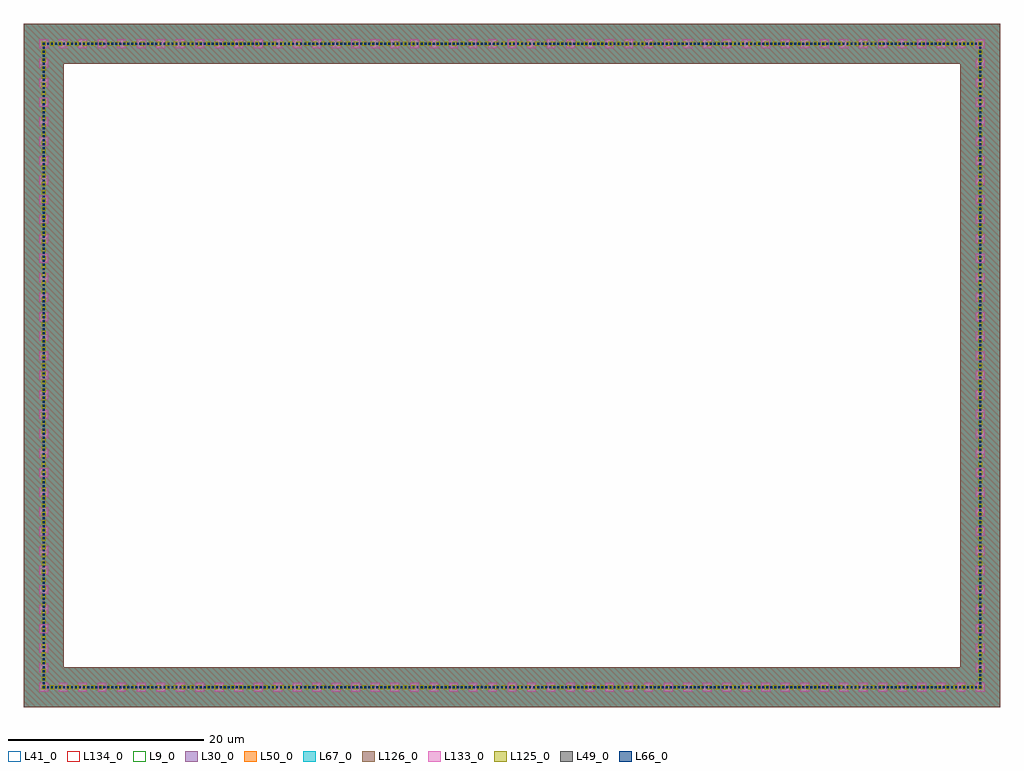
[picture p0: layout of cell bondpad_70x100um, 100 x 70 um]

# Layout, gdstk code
import gdstk
lib = gdstk.Library(unit=1e-6, precision=5e-09)
def R(c, l, rs):  # rectangles x0, y0, x1, y1
    for r in rs: c.add(gdstk.rectangle(r[:2], r[2:], *l))
def A(c, l, x, y, w, h, nx, ny, dx, dy):  # array of equal rectangles
    R(c, l, [(x+i*dx, y+j*dy, x+i*dx+w, y+j*dy+h) for i in range(nx) for j in range(ny)])
def P(c, l, *ps):  # polygons
    for p in ps: c.add(gdstk.Polygon(p, *l))
L9_0 = (9, 0)
L30_0 = (30, 0)
L41_0 = (41, 0)
L49_0 = (49, 0)
L50_0 = (50, 0)
L66_0 = (66, 0)
L67_0 = (67, 0)
L125_0 = (125, 0)
L126_0 = (126, 0)
L133_0 = (133, 0)
L134_0 = (134, 0)

bondpad_70x100um = lib.new_cell('bondpad_70x100um')
R(bondpad_70x100um, L9_0, [(-183.855,-25.315,-88.055,40.485)])
P(bondpad_70x100um, L30_0, [(-185.955,-27.415),(-185.955,42.585),(-181.885,38.515),(-181.885,-23.345),(-90.025,-23.345),(-90.025,38.515),(-181.885,38.515),(-185.955,42.585),(-85.955,42.585),(-85.955,-27.415)])
R(bondpad_70x100um, L41_0, [(-185.955,-27.415,-85.955,42.585)])
A(bondpad_70x100um, L49_0, -183.595, -25.475, 0.19, 0.19, 4, 2, 0.41, 65.93)
A(bondpad_70x100um, L49_0, -181.95, -25.475, 0.19, 0.19, 3, 2, 0.41, 65.93)
A(bondpad_70x100um, L49_0, -180.715, -25.475, 0.19, 0.19, 3, 2, 0.41, 65.93)
A(bondpad_70x100um, L49_0, -179.48, -25.475, 0.19, 0.19, 3, 2, 0.41, 65.93)
A(bondpad_70x100um, L49_0, -178.245, -25.475, 0.19, 0.19, 3, 2, 0.41, 65.93)
A(bondpad_70x100um, L49_0, -177.01, -25.475, 0.19, 0.19, 3, 2, 0.41, 65.93)
A(bondpad_70x100um, L49_0, -175.775, -25.475, 0.19, 0.19, 3, 2, 0.41, 65.93)
A(bondpad_70x100um, L49_0, -174.54, -25.475, 0.19, 0.19, 3, 2, 0.41, 65.93)
A(bondpad_70x100um, L49_0, -173.305, -25.475, 0.19, 0.19, 3, 2, 0.41, 65.93)
A(bondpad_70x100um, L49_0, -172.07, -25.475, 0.19, 0.19, 3, 2, 0.41, 65.93)
A(bondpad_70x100um, L49_0, -170.835, -25.475, 0.19, 0.19, 3, 2, 0.41, 65.93)
A(bondpad_70x100um, L49_0, -169.6, -25.475, 0.19, 0.19, 3, 2, 0.41, 65.93)
A(bondpad_70x100um, L49_0, -168.365, -25.475, 0.19, 0.19, 3, 2, 0.41, 65.93)
A(bondpad_70x100um, L49_0, -167.13, -25.475, 0.19, 0.19, 3, 2, 0.41, 65.93)
A(bondpad_70x100um, L49_0, -165.895, -25.475, 0.19, 0.19, 3, 2, 0.41, 65.93)
A(bondpad_70x100um, L49_0, -164.66, -25.475, 0.19, 0.19, 3, 2, 0.41, 65.93)
A(bondpad_70x100um, L49_0, -163.425, -25.475, 0.19, 0.19, 3, 2, 0.41, 65.93)
A(bondpad_70x100um, L49_0, -162.19, -25.475, 0.19, 0.19, 3, 2, 0.41, 65.93)
A(bondpad_70x100um, L49_0, -160.955, -25.475, 0.19, 0.19, 3, 2, 0.41, 65.93)
A(bondpad_70x100um, L49_0, -159.72, -25.475, 0.19, 0.19, 3, 2, 0.41, 65.93)
A(bondpad_70x100um, L49_0, -158.485, -25.475, 0.19, 0.19, 3, 2, 0.41, 65.93)
A(bondpad_70x100um, L49_0, -157.25, -25.475, 0.19, 0.19, 3, 2, 0.41, 65.93)
A(bondpad_70x100um, L49_0, -156.015, -25.475, 0.19, 0.19, 3, 2, 0.41, 65.93)
A(bondpad_70x100um, L49_0, -154.78, -25.475, 0.19, 0.19, 3, 2, 0.41, 65.93)
A(bondpad_70x100um, L49_0, -153.545, -25.475, 0.19, 0.19, 3, 2, 0.41, 65.93)
A(bondpad_70x100um, L49_0, -152.31, -25.475, 0.19, 0.19, 4, 2, 0.41, 65.93)
A(bondpad_70x100um, L49_0, -150.665, -25.475, 0.19, 0.19, 3, 2, 0.41, 65.93)
A(bondpad_70x100um, L49_0, -149.43, -25.475, 0.19, 0.19, 3, 2, 0.41, 65.93)
A(bondpad_70x100um, L49_0, -148.195, -25.475, 0.19, 0.19, 3, 2, 0.41, 65.93)
A(bondpad_70x100um, L49_0, -146.96, -25.475, 0.19, 0.19, 3, 2, 0.41, 65.93)
A(bondpad_70x100um, L49_0, -145.725, -25.475, 0.19, 0.19, 3, 2, 0.41, 65.93)
A(bondpad_70x100um, L49_0, -144.49, -25.475, 0.19, 0.19, 3, 2, 0.41, 65.93)
A(bondpad_70x100um, L49_0, -143.255, -25.475, 0.19, 0.19, 3, 2, 0.41, 65.93)
A(bondpad_70x100um, L49_0, -142.02, -25.475, 0.19, 0.19, 3, 2, 0.41, 65.93)
A(bondpad_70x100um, L49_0, -140.785, -25.475, 0.19, 0.19, 3, 2, 0.41, 65.93)
A(bondpad_70x100um, L49_0, -139.55, -25.475, 0.19, 0.19, 3, 2, 0.41, 65.93)
A(bondpad_70x100um, L49_0, -138.315, -25.475, 0.19, 0.19, 3, 2, 0.41, 65.93)
A(bondpad_70x100um, L49_0, -137.08, -25.475, 0.19, 0.19, 3, 2, 0.41, 65.93)
A(bondpad_70x100um, L49_0, -135.845, -25.475, 0.19, 0.19, 3, 2, 0.41, 65.93)
A(bondpad_70x100um, L49_0, -134.61, -25.475, 0.19, 0.19, 3, 2, 0.41, 65.93)
A(bondpad_70x100um, L49_0, -133.375, -25.475, 0.19, 0.19, 3, 2, 0.41, 65.93)
A(bondpad_70x100um, L49_0, -132.14, -25.475, 0.19, 0.19, 3, 2, 0.41, 65.93)
A(bondpad_70x100um, L49_0, -130.905, -25.475, 0.19, 0.19, 3, 2, 0.41, 65.93)
A(bondpad_70x100um, L49_0, -129.67, -25.475, 0.19, 0.19, 3, 2, 0.41, 65.93)
A(bondpad_70x100um, L49_0, -128.435, -25.475, 0.19, 0.19, 3, 2, 0.41, 65.93)
A(bondpad_70x100um, L49_0, -127.2, -25.475, 0.19, 0.19, 3, 2, 0.41, 65.93)
A(bondpad_70x100um, L49_0, -125.965, -25.475, 0.19, 0.19, 3, 2, 0.41, 65.93)
A(bondpad_70x100um, L49_0, -124.73, -25.475, 0.19, 0.19, 3, 2, 0.41, 65.93)
A(bondpad_70x100um, L49_0, -123.495, -25.475, 0.19, 0.19, 3, 2, 0.41, 65.93)
A(bondpad_70x100um, L49_0, -122.26, -25.475, 0.19, 0.19, 3, 2, 0.41, 65.93)
A(bondpad_70x100um, L49_0, -121.025, -25.475, 0.19, 0.19, 4, 2, 0.41, 65.93)
A(bondpad_70x100um, L49_0, -119.38, -25.475, 0.19, 0.19, 3, 2, 0.41, 65.93)
A(bondpad_70x100um, L49_0, -118.145, -25.475, 0.19, 0.19, 3, 2, 0.41, 65.93)
A(bondpad_70x100um, L49_0, -116.91, -25.475, 0.19, 0.19, 3, 2, 0.41, 65.93)
A(bondpad_70x100um, L49_0, -115.675, -25.475, 0.19, 0.19, 3, 2, 0.41, 65.93)
A(bondpad_70x100um, L49_0, -114.44, -25.475, 0.19, 0.19, 3, 2, 0.41, 65.93)
A(bondpad_70x100um, L49_0, -113.205, -25.475, 0.19, 0.19, 3, 2, 0.41, 65.93)
A(bondpad_70x100um, L49_0, -111.97, -25.475, 0.19, 0.19, 3, 2, 0.41, 65.93)
A(bondpad_70x100um, L49_0, -110.735, -25.475, 0.19, 0.19, 3, 2, 0.41, 65.93)
A(bondpad_70x100um, L49_0, -109.5, -25.475, 0.19, 0.19, 3, 2, 0.41, 65.93)
A(bondpad_70x100um, L49_0, -108.265, -25.475, 0.19, 0.19, 3, 2, 0.41, 65.93)
A(bondpad_70x100um, L49_0, -107.03, -25.475, 0.19, 0.19, 3, 2, 0.41, 65.93)
A(bondpad_70x100um, L49_0, -105.795, -25.475, 0.19, 0.19, 3, 2, 0.41, 65.93)
A(bondpad_70x100um, L49_0, -104.56, -25.475, 0.19, 0.19, 3, 2, 0.41, 65.93)
A(bondpad_70x100um, L49_0, -103.325, -25.475, 0.19, 0.19, 3, 2, 0.41, 65.93)
A(bondpad_70x100um, L49_0, -102.09, -25.475, 0.19, 0.19, 3, 2, 0.41, 65.93)
A(bondpad_70x100um, L49_0, -100.855, -25.475, 0.19, 0.19, 3, 2, 0.41, 65.93)
A(bondpad_70x100um, L49_0, -99.62, -25.475, 0.19, 0.19, 3, 2, 0.41, 65.93)
A(bondpad_70x100um, L49_0, -98.385, -25.475, 0.19, 0.19, 3, 2, 0.41, 65.93)
A(bondpad_70x100um, L49_0, -97.15, -25.475, 0.19, 0.19, 3, 2, 0.41, 65.93)
A(bondpad_70x100um, L49_0, -95.915, -25.475, 0.19, 0.19, 3, 2, 0.41, 65.93)
A(bondpad_70x100um, L49_0, -94.68, -25.475, 0.19, 0.19, 3, 2, 0.41, 65.93)
A(bondpad_70x100um, L49_0, -93.445, -25.475, 0.19, 0.19, 3, 2, 0.41, 65.93)
A(bondpad_70x100um, L49_0, -92.21, -25.475, 0.19, 0.19, 3, 2, 0.41, 65.93)
A(bondpad_70x100um, L49_0, -90.975, -25.475, 0.19, 0.19, 3, 2, 0.41, 65.93)
A(bondpad_70x100um, L49_0, -89.74, -25.475, 0.19, 0.19, 3, 2, 0.41, 65.93)
A(bondpad_70x100um, L49_0, -184.015, -23.41, 0.19, 0.19, 1, 3, 0, 0.41)
A(bondpad_70x100um, L49_0, -88.085, -23.41, 0.19, 0.19, 1, 3, 0, 0.41)
A(bondpad_70x100um, L49_0, -184.015, -21.35, 0.19, 0.19, 1, 3, 0, 0.41)
A(bondpad_70x100um, L49_0, -88.085, -21.35, 0.19, 0.19, 1, 3, 0, 0.41)
A(bondpad_70x100um, L49_0, -184.015, -18.465, 0.19, 0.19, 1, 3, 0, 0.41)
A(bondpad_70x100um, L49_0, -88.085, -18.465, 0.19, 0.19, 1, 3, 0, 0.41)
A(bondpad_70x100um, L49_0, -184.015, -16.405, 0.19, 0.19, 1, 3, 0, 0.41)
A(bondpad_70x100um, L49_0, -88.085, -16.405, 0.19, 0.19, 1, 3, 0, 0.41)
A(bondpad_70x100um, L49_0, -184.015, -14.345, 0.19, 0.19, 1, 3, 0, 0.41)
A(bondpad_70x100um, L49_0, -88.085, -14.345, 0.19, 0.19, 1, 3, 0, 0.41)
A(bondpad_70x100um, L49_0, -184.015, -11.46, 0.19, 0.19, 1, 3, 0, 0.41)
A(bondpad_70x100um, L49_0, -88.085, -11.46, 0.19, 0.19, 1, 3, 0, 0.41)
A(bondpad_70x100um, L49_0, -184.015, -9.4, 0.19, 0.19, 1, 3, 0, 0.41)
A(bondpad_70x100um, L49_0, -88.085, -9.4, 0.19, 0.19, 1, 3, 0, 0.41)
A(bondpad_70x100um, L49_0, -184.015, -7.34, 0.19, 0.19, 1, 3, 0, 0.41)
A(bondpad_70x100um, L49_0, -88.085, -7.34, 0.19, 0.19, 1, 3, 0, 0.41)
A(bondpad_70x100um, L49_0, -184.015, -4.455, 0.19, 0.19, 1, 3, 0, 0.41)
A(bondpad_70x100um, L49_0, -88.085, -4.455, 0.19, 0.19, 1, 3, 0, 0.41)
A(bondpad_70x100um, L49_0, -184.015, -2.395, 0.19, 0.19, 1, 3, 0, 0.41)
A(bondpad_70x100um, L49_0, -88.085, -2.395, 0.19, 0.19, 1, 3, 0, 0.41)
A(bondpad_70x100um, L49_0, -184.015, -0.335, 0.19, 0.19, 1, 3, 0, 0.41)
A(bondpad_70x100um, L49_0, -88.085, -0.335, 0.19, 0.19, 1, 3, 0, 0.41)
A(bondpad_70x100um, L49_0, -184.015, 2.55, 0.19, 0.19, 1, 3, 0, 0.41)
A(bondpad_70x100um, L49_0, -88.085, 2.55, 0.19, 0.19, 1, 3, 0, 0.41)
A(bondpad_70x100um, L49_0, -184.015, 4.61, 0.19, 0.19, 1, 3, 0, 0.41)
A(bondpad_70x100um, L49_0, -88.085, 4.61, 0.19, 0.19, 1, 3, 0, 0.41)
A(bondpad_70x100um, L49_0, -184.015, 6.67, 0.19, 0.19, 1, 3, 0, 0.41)
A(bondpad_70x100um, L49_0, -88.085, 6.67, 0.19, 0.19, 1, 3, 0, 0.41)
A(bondpad_70x100um, L49_0, -184.015, 9.555, 0.19, 0.19, 1, 3, 0, 0.41)
A(bondpad_70x100um, L49_0, -88.085, 9.555, 0.19, 0.19, 1, 3, 0, 0.41)
A(bondpad_70x100um, L49_0, -184.015, 11.615, 0.19, 0.19, 1, 3, 0, 0.41)
A(bondpad_70x100um, L49_0, -88.085, 11.615, 0.19, 0.19, 1, 3, 0, 0.41)
A(bondpad_70x100um, L49_0, -184.015, 14.5, 0.19, 0.19, 1, 3, 0, 0.41)
A(bondpad_70x100um, L49_0, -88.085, 14.5, 0.19, 0.19, 1, 3, 0, 0.41)
A(bondpad_70x100um, L49_0, -184.015, 16.56, 0.19, 0.19, 1, 3, 0, 0.41)
A(bondpad_70x100um, L49_0, -88.085, 16.56, 0.19, 0.19, 1, 3, 0, 0.41)
A(bondpad_70x100um, L49_0, -184.015, 18.62, 0.19, 0.19, 1, 3, 0, 0.41)
A(bondpad_70x100um, L49_0, -88.085, 18.62, 0.19, 0.19, 1, 3, 0, 0.41)
A(bondpad_70x100um, L49_0, -184.015, 21.505, 0.19, 0.19, 1, 3, 0, 0.41)
A(bondpad_70x100um, L49_0, -88.085, 21.505, 0.19, 0.19, 1, 3, 0, 0.41)
A(bondpad_70x100um, L49_0, -184.015, 23.565, 0.19, 0.19, 1, 3, 0, 0.41)
A(bondpad_70x100um, L49_0, -88.085, 23.565, 0.19, 0.19, 1, 3, 0, 0.41)
A(bondpad_70x100um, L49_0, -184.015, 25.625, 0.19, 0.19, 1, 3, 0, 0.41)
A(bondpad_70x100um, L49_0, -88.085, 25.625, 0.19, 0.19, 1, 3, 0, 0.41)
A(bondpad_70x100um, L49_0, -184.015, 28.51, 0.19, 0.19, 1, 3, 0, 0.41)
A(bondpad_70x100um, L49_0, -88.085, 28.51, 0.19, 0.19, 1, 3, 0, 0.41)
A(bondpad_70x100um, L49_0, -184.015, 30.57, 0.19, 0.19, 1, 3, 0, 0.41)
A(bondpad_70x100um, L49_0, -88.085, 30.57, 0.19, 0.19, 1, 3, 0, 0.41)
A(bondpad_70x100um, L49_0, -184.015, 32.63, 0.19, 0.19, 1, 3, 0, 0.41)
A(bondpad_70x100um, L49_0, -88.085, 32.63, 0.19, 0.19, 1, 3, 0, 0.41)
A(bondpad_70x100um, L49_0, -184.015, 35.515, 0.19, 0.19, 1, 3, 0, 0.41)
A(bondpad_70x100um, L49_0, -88.085, 35.515, 0.19, 0.19, 1, 3, 0, 0.41)
A(bondpad_70x100um, L49_0, -184.015, 37.575, 0.19, 0.19, 1, 3, 0, 0.41)
A(bondpad_70x100um, L49_0, -88.085, 37.575, 0.19, 0.19, 1, 3, 0, 0.41)
A(bondpad_70x100um, L49_0, -184.015, 39.635, 0.19, 0.19, 1, 3, 0, 0.41)
A(bondpad_70x100um, L49_0, -88.085, 39.635, 0.19, 0.19, 1, 3, 0, 0.41)
R(bondpad_70x100um, L49_0, [(-184.015,-25.475,-183.825,-25.285), (-184.015,-25.475,-183.825,-25.285), (-88.505,-25.475,-88.315,-25.285), (-88.085,-25.475,-87.895,-25.285), (-88.085,-25.475,-87.895,-25.285), (-184.015,-25.06,-183.825,-24.87), (-88.085,-25.06,-87.895,-24.87), (-184.015,-24.65,-183.825,-24.46), (-88.085,-24.65,-87.895,-24.46), (-184.015,-24.235,-183.825,-24.045), (-88.085,-24.235,-87.895,-24.045), (-184.015,-23.825,-183.825,-23.635), (-88.085,-23.825,-87.895,-23.635), (-184.015,-22.175,-183.825,-21.985), (-88.085,-22.175,-87.895,-21.985), (-184.015,-21.765,-183.825,-21.575), (-88.085,-21.765,-87.895,-21.575), (-184.015,-20.115,-183.825,-19.925), (-88.085,-20.115,-87.895,-19.925), (-184.015,-19.705,-183.825,-19.515), (-88.085,-19.705,-87.895,-19.515), (-184.015,-19.29,-183.825,-19.1), (-88.085,-19.29,-87.895,-19.1), (-184.015,-18.88,-183.825,-18.69), (-88.085,-18.88,-87.895,-18.69), (-184.015,-17.23,-183.825,-17.04), (-88.085,-17.23,-87.895,-17.04), (-184.015,-16.82,-183.825,-16.63), (-88.085,-16.82,-87.895,-16.63), (-184.015,-15.17,-183.825,-14.98), (-88.085,-15.17,-87.895,-14.98), (-184.015,-14.76,-183.825,-14.57), (-88.085,-14.76,-87.895,-14.57), (-184.015,-13.11,-183.825,-12.92), (-88.085,-13.11,-87.895,-12.92), (-184.015,-12.7,-183.825,-12.51), (-88.085,-12.7,-87.895,-12.51), (-184.015,-12.285,-183.825,-12.095), (-88.085,-12.285,-87.895,-12.095), (-184.015,-11.875,-183.825,-11.685), (-88.085,-11.875,-87.895,-11.685), (-184.015,-10.225,-183.825,-10.035), (-88.085,-10.225,-87.895,-10.035), (-184.015,-9.815,-183.825,-9.625), (-88.085,-9.815,-87.895,-9.625), (-184.015,-8.165,-183.825,-7.975), (-88.085,-8.165,-87.895,-7.975), (-184.015,-7.755,-183.825,-7.565), (-88.085,-7.755,-87.895,-7.565), (-184.015,-6.105,-183.825,-5.915), (-88.085,-6.105,-87.895,-5.915), (-184.015,-5.695,-183.825,-5.505), (-88.085,-5.695,-87.895,-5.505), (-184.015,-5.28,-183.825,-5.09), (-88.085,-5.28,-87.895,-5.09), (-184.015,-4.87,-183.825,-4.68), (-88.085,-4.87,-87.895,-4.68), (-184.015,-3.22,-183.825,-3.03), (-88.085,-3.22,-87.895,-3.03), (-184.015,-2.81,-183.825,-2.62), (-88.085,-2.81,-87.895,-2.62), (-184.015,-1.16,-183.825,-0.97), (-88.085,-1.16,-87.895,-0.97), (-184.015,-0.75,-183.825,-0.56), (-88.085,-0.75,-87.895,-0.56), (-184.015,0.9,-183.825,1.09), (-88.085,0.9,-87.895,1.09), (-184.015,1.31,-183.825,1.5), (-88.085,1.31,-87.895,1.5), (-184.015,1.725,-183.825,1.915), (-88.085,1.725,-87.895,1.915), (-184.015,2.135,-183.825,2.325), (-88.085,2.135,-87.895,2.325), (-184.015,3.785,-183.825,3.975), (-88.085,3.785,-87.895,3.975), (-184.015,4.195,-183.825,4.385), (-88.085,4.195,-87.895,4.385), (-184.015,5.845,-183.825,6.035), (-88.085,5.845,-87.895,6.035), (-184.015,6.255,-183.825,6.445), (-88.085,6.255,-87.895,6.445), (-184.015,7.905,-183.825,8.095), (-88.085,7.905,-87.895,8.095), (-184.015,8.315,-183.825,8.505), (-88.085,8.315,-87.895,8.505), (-184.015,8.73,-183.825,8.92), (-88.085,8.73,-87.895,8.92), (-184.015,9.14,-183.825,9.33), (-88.085,9.14,-87.895,9.33), (-184.015,10.79,-183.825,10.98), (-88.085,10.79,-87.895,10.98), (-184.015,11.2,-183.825,11.39), (-88.085,11.2,-87.895,11.39), (-184.015,12.85,-183.825,13.04), (-88.085,12.85,-87.895,13.04), (-184.015,13.26,-183.825,13.45), (-88.085,13.26,-87.895,13.45), (-184.015,13.675,-183.825,13.865), (-88.085,13.675,-87.895,13.865), (-184.015,14.085,-183.825,14.275), (-88.085,14.085,-87.895,14.275), (-184.015,15.735,-183.825,15.925), (-88.085,15.735,-87.895,15.925), (-184.015,16.145,-183.825,16.335), (-88.085,16.145,-87.895,16.335), (-184.015,17.795,-183.825,17.985), (-88.085,17.795,-87.895,17.985), (-184.015,18.205,-183.825,18.395), (-88.085,18.205,-87.895,18.395), (-184.015,19.855,-183.825,20.045), (-88.085,19.855,-87.895,20.045), (-184.015,20.265,-183.825,20.455), (-88.085,20.265,-87.895,20.455), (-184.015,20.68,-183.825,20.87), (-88.085,20.68,-87.895,20.87), (-184.015,21.09,-183.825,21.28), (-88.085,21.09,-87.895,21.28), (-184.015,22.74,-183.825,22.93), (-88.085,22.74,-87.895,22.93), (-184.015,23.15,-183.825,23.34), (-88.085,23.15,-87.895,23.34), (-184.015,24.8,-183.825,24.99), (-88.085,24.8,-87.895,24.99), (-184.015,25.21,-183.825,25.4), (-88.085,25.21,-87.895,25.4), (-184.015,26.86,-183.825,27.05), (-88.085,26.86,-87.895,27.05), (-184.015,27.27,-183.825,27.46), (-88.085,27.27,-87.895,27.46), (-184.015,27.685,-183.825,27.875), (-88.085,27.685,-87.895,27.875), (-184.015,28.095,-183.825,28.285), (-88.085,28.095,-87.895,28.285), (-184.015,29.745,-183.825,29.935), (-88.085,29.745,-87.895,29.935), (-184.015,30.155,-183.825,30.345), (-88.085,30.155,-87.895,30.345), (-184.015,31.805,-183.825,31.995), (-88.085,31.805,-87.895,31.995), (-184.015,32.215,-183.825,32.405), (-88.085,32.215,-87.895,32.405), (-184.015,33.865,-183.825,34.055), (-88.085,33.865,-87.895,34.055), (-184.015,34.275,-183.825,34.465), (-88.085,34.275,-87.895,34.465), (-184.015,34.69,-183.825,34.88), (-88.085,34.69,-87.895,34.88), (-184.015,35.1,-183.825,35.29), (-88.085,35.1,-87.895,35.29), (-184.015,36.75,-183.825,36.94), (-88.085,36.75,-87.895,36.94), (-184.015,37.16,-183.825,37.35), (-88.085,37.16,-87.895,37.35), (-184.015,38.81,-183.825,39), (-88.085,38.81,-87.895,39), (-184.015,39.22,-183.825,39.41), (-88.085,39.22,-87.895,39.41), (-184.015,40.455,-183.825,40.645), (-88.505,40.455,-88.315,40.645), (-88.085,40.455,-87.895,40.645)])
P(bondpad_70x100um, L50_0, [(-185.955,-27.415),(-185.955,42.585),(-181.885,38.515),(-181.885,-23.345),(-90.025,-23.345),(-90.025,38.515),(-181.885,38.515),(-185.955,42.585),(-85.955,42.585),(-85.955,-27.415)])
A(bondpad_70x100um, L66_0, -183.595, -25.475, 0.19, 0.19, 4, 2, 0.41, 65.93)
A(bondpad_70x100um, L66_0, -181.95, -25.475, 0.19, 0.19, 3, 2, 0.41, 65.93)
A(bondpad_70x100um, L66_0, -180.715, -25.475, 0.19, 0.19, 3, 2, 0.41, 65.93)
A(bondpad_70x100um, L66_0, -179.48, -25.475, 0.19, 0.19, 3, 2, 0.41, 65.93)
A(bondpad_70x100um, L66_0, -178.245, -25.475, 0.19, 0.19, 3, 2, 0.41, 65.93)
A(bondpad_70x100um, L66_0, -177.01, -25.475, 0.19, 0.19, 3, 2, 0.41, 65.93)
A(bondpad_70x100um, L66_0, -175.775, -25.475, 0.19, 0.19, 3, 2, 0.41, 65.93)
A(bondpad_70x100um, L66_0, -174.54, -25.475, 0.19, 0.19, 3, 2, 0.41, 65.93)
A(bondpad_70x100um, L66_0, -173.305, -25.475, 0.19, 0.19, 3, 2, 0.41, 65.93)
A(bondpad_70x100um, L66_0, -172.07, -25.475, 0.19, 0.19, 3, 2, 0.41, 65.93)
A(bondpad_70x100um, L66_0, -170.835, -25.475, 0.19, 0.19, 3, 2, 0.41, 65.93)
A(bondpad_70x100um, L66_0, -169.6, -25.475, 0.19, 0.19, 3, 2, 0.41, 65.93)
A(bondpad_70x100um, L66_0, -168.365, -25.475, 0.19, 0.19, 3, 2, 0.41, 65.93)
A(bondpad_70x100um, L66_0, -167.13, -25.475, 0.19, 0.19, 3, 2, 0.41, 65.93)
A(bondpad_70x100um, L66_0, -165.895, -25.475, 0.19, 0.19, 3, 2, 0.41, 65.93)
A(bondpad_70x100um, L66_0, -164.66, -25.475, 0.19, 0.19, 3, 2, 0.41, 65.93)
A(bondpad_70x100um, L66_0, -163.425, -25.475, 0.19, 0.19, 3, 2, 0.41, 65.93)
A(bondpad_70x100um, L66_0, -162.19, -25.475, 0.19, 0.19, 3, 2, 0.41, 65.93)
A(bondpad_70x100um, L66_0, -160.955, -25.475, 0.19, 0.19, 3, 2, 0.41, 65.93)
A(bondpad_70x100um, L66_0, -159.72, -25.475, 0.19, 0.19, 3, 2, 0.41, 65.93)
A(bondpad_70x100um, L66_0, -158.485, -25.475, 0.19, 0.19, 3, 2, 0.41, 65.93)
A(bondpad_70x100um, L66_0, -157.25, -25.475, 0.19, 0.19, 3, 2, 0.41, 65.93)
A(bondpad_70x100um, L66_0, -156.015, -25.475, 0.19, 0.19, 3, 2, 0.41, 65.93)
A(bondpad_70x100um, L66_0, -154.78, -25.475, 0.19, 0.19, 3, 2, 0.41, 65.93)
A(bondpad_70x100um, L66_0, -153.545, -25.475, 0.19, 0.19, 3, 2, 0.41, 65.93)
A(bondpad_70x100um, L66_0, -152.31, -25.475, 0.19, 0.19, 4, 2, 0.41, 65.93)
A(bondpad_70x100um, L66_0, -150.665, -25.475, 0.19, 0.19, 3, 2, 0.41, 65.93)
A(bondpad_70x100um, L66_0, -149.43, -25.475, 0.19, 0.19, 3, 2, 0.41, 65.93)
A(bondpad_70x100um, L66_0, -148.195, -25.475, 0.19, 0.19, 3, 2, 0.41, 65.93)
A(bondpad_70x100um, L66_0, -146.96, -25.475, 0.19, 0.19, 3, 2, 0.41, 65.93)
A(bondpad_70x100um, L66_0, -145.725, -25.475, 0.19, 0.19, 3, 2, 0.41, 65.93)
A(bondpad_70x100um, L66_0, -144.49, -25.475, 0.19, 0.19, 3, 2, 0.41, 65.93)
A(bondpad_70x100um, L66_0, -143.255, -25.475, 0.19, 0.19, 3, 2, 0.41, 65.93)
A(bondpad_70x100um, L66_0, -142.02, -25.475, 0.19, 0.19, 3, 2, 0.41, 65.93)
A(bondpad_70x100um, L66_0, -140.785, -25.475, 0.19, 0.19, 3, 2, 0.41, 65.93)
A(bondpad_70x100um, L66_0, -139.55, -25.475, 0.19, 0.19, 3, 2, 0.41, 65.93)
A(bondpad_70x100um, L66_0, -138.315, -25.475, 0.19, 0.19, 3, 2, 0.41, 65.93)
A(bondpad_70x100um, L66_0, -137.08, -25.475, 0.19, 0.19, 3, 2, 0.41, 65.93)
A(bondpad_70x100um, L66_0, -135.845, -25.475, 0.19, 0.19, 3, 2, 0.41, 65.93)
A(bondpad_70x100um, L66_0, -134.61, -25.475, 0.19, 0.19, 3, 2, 0.41, 65.93)
A(bondpad_70x100um, L66_0, -133.375, -25.475, 0.19, 0.19, 3, 2, 0.41, 65.93)
A(bondpad_70x100um, L66_0, -132.14, -25.475, 0.19, 0.19, 3, 2, 0.41, 65.93)
A(bondpad_70x100um, L66_0, -130.905, -25.475, 0.19, 0.19, 3, 2, 0.41, 65.93)
A(bondpad_70x100um, L66_0, -129.67, -25.475, 0.19, 0.19, 3, 2, 0.41, 65.93)
A(bondpad_70x100um, L66_0, -128.435, -25.475, 0.19, 0.19, 3, 2, 0.41, 65.93)
A(bondpad_70x100um, L66_0, -127.2, -25.475, 0.19, 0.19, 3, 2, 0.41, 65.93)
A(bondpad_70x100um, L66_0, -125.965, -25.475, 0.19, 0.19, 3, 2, 0.41, 65.93)
A(bondpad_70x100um, L66_0, -124.73, -25.475, 0.19, 0.19, 3, 2, 0.41, 65.93)
A(bondpad_70x100um, L66_0, -123.495, -25.475, 0.19, 0.19, 3, 2, 0.41, 65.93)
A(bondpad_70x100um, L66_0, -122.26, -25.475, 0.19, 0.19, 3, 2, 0.41, 65.93)
A(bondpad_70x100um, L66_0, -121.025, -25.475, 0.19, 0.19, 4, 2, 0.41, 65.93)
A(bondpad_70x100um, L66_0, -119.38, -25.475, 0.19, 0.19, 3, 2, 0.41, 65.93)
A(bondpad_70x100um, L66_0, -118.145, -25.475, 0.19, 0.19, 3, 2, 0.41, 65.93)
A(bondpad_70x100um, L66_0, -116.91, -25.475, 0.19, 0.19, 3, 2, 0.41, 65.93)
A(bondpad_70x100um, L66_0, -115.675, -25.475, 0.19, 0.19, 3, 2, 0.41, 65.93)
A(bondpad_70x100um, L66_0, -114.44, -25.475, 0.19, 0.19, 3, 2, 0.41, 65.93)
A(bondpad_70x100um, L66_0, -113.205, -25.475, 0.19, 0.19, 3, 2, 0.41, 65.93)
A(bondpad_70x100um, L66_0, -111.97, -25.475, 0.19, 0.19, 3, 2, 0.41, 65.93)
A(bondpad_70x100um, L66_0, -110.735, -25.475, 0.19, 0.19, 3, 2, 0.41, 65.93)
A(bondpad_70x100um, L66_0, -109.5, -25.475, 0.19, 0.19, 3, 2, 0.41, 65.93)
A(bondpad_70x100um, L66_0, -108.265, -25.475, 0.19, 0.19, 3, 2, 0.41, 65.93)
A(bondpad_70x100um, L66_0, -107.03, -25.475, 0.19, 0.19, 3, 2, 0.41, 65.93)
A(bondpad_70x100um, L66_0, -105.795, -25.475, 0.19, 0.19, 3, 2, 0.41, 65.93)
A(bondpad_70x100um, L66_0, -104.56, -25.475, 0.19, 0.19, 3, 2, 0.41, 65.93)
A(bondpad_70x100um, L66_0, -103.325, -25.475, 0.19, 0.19, 3, 2, 0.41, 65.93)
A(bondpad_70x100um, L66_0, -102.09, -25.475, 0.19, 0.19, 3, 2, 0.41, 65.93)
A(bondpad_70x100um, L66_0, -100.855, -25.475, 0.19, 0.19, 3, 2, 0.41, 65.93)
A(bondpad_70x100um, L66_0, -99.62, -25.475, 0.19, 0.19, 3, 2, 0.41, 65.93)
A(bondpad_70x100um, L66_0, -98.385, -25.475, 0.19, 0.19, 3, 2, 0.41, 65.93)
A(bondpad_70x100um, L66_0, -97.15, -25.475, 0.19, 0.19, 3, 2, 0.41, 65.93)
A(bondpad_70x100um, L66_0, -95.915, -25.475, 0.19, 0.19, 3, 2, 0.41, 65.93)
A(bondpad_70x100um, L66_0, -94.68, -25.475, 0.19, 0.19, 3, 2, 0.41, 65.93)
A(bondpad_70x100um, L66_0, -93.445, -25.475, 0.19, 0.19, 3, 2, 0.41, 65.93)
A(bondpad_70x100um, L66_0, -92.21, -25.475, 0.19, 0.19, 3, 2, 0.41, 65.93)
A(bondpad_70x100um, L66_0, -90.975, -25.475, 0.19, 0.19, 3, 2, 0.41, 65.93)
A(bondpad_70x100um, L66_0, -89.74, -25.475, 0.19, 0.19, 3, 2, 0.41, 65.93)
A(bondpad_70x100um, L66_0, -184.015, -23.41, 0.19, 0.19, 1, 3, 0, 0.41)
A(bondpad_70x100um, L66_0, -88.085, -23.41, 0.19, 0.19, 1, 3, 0, 0.41)
A(bondpad_70x100um, L66_0, -184.015, -21.35, 0.19, 0.19, 1, 3, 0, 0.41)
A(bondpad_70x100um, L66_0, -88.085, -21.35, 0.19, 0.19, 1, 3, 0, 0.41)
A(bondpad_70x100um, L66_0, -184.015, -18.465, 0.19, 0.19, 1, 3, 0, 0.41)
A(bondpad_70x100um, L66_0, -88.085, -18.465, 0.19, 0.19, 1, 3, 0, 0.41)
A(bondpad_70x100um, L66_0, -184.015, -16.405, 0.19, 0.19, 1, 3, 0, 0.41)
A(bondpad_70x100um, L66_0, -88.085, -16.405, 0.19, 0.19, 1, 3, 0, 0.41)
A(bondpad_70x100um, L66_0, -184.015, -14.345, 0.19, 0.19, 1, 3, 0, 0.41)
A(bondpad_70x100um, L66_0, -88.085, -14.345, 0.19, 0.19, 1, 3, 0, 0.41)
A(bondpad_70x100um, L66_0, -184.015, -11.46, 0.19, 0.19, 1, 3, 0, 0.41)
A(bondpad_70x100um, L66_0, -88.085, -11.46, 0.19, 0.19, 1, 3, 0, 0.41)
A(bondpad_70x100um, L66_0, -184.015, -9.4, 0.19, 0.19, 1, 3, 0, 0.41)
A(bondpad_70x100um, L66_0, -88.085, -9.4, 0.19, 0.19, 1, 3, 0, 0.41)
A(bondpad_70x100um, L66_0, -184.015, -7.34, 0.19, 0.19, 1, 3, 0, 0.41)
A(bondpad_70x100um, L66_0, -88.085, -7.34, 0.19, 0.19, 1, 3, 0, 0.41)
A(bondpad_70x100um, L66_0, -184.015, -4.455, 0.19, 0.19, 1, 3, 0, 0.41)
A(bondpad_70x100um, L66_0, -88.085, -4.455, 0.19, 0.19, 1, 3, 0, 0.41)
A(bondpad_70x100um, L66_0, -184.015, -2.395, 0.19, 0.19, 1, 3, 0, 0.41)
A(bondpad_70x100um, L66_0, -88.085, -2.395, 0.19, 0.19, 1, 3, 0, 0.41)
A(bondpad_70x100um, L66_0, -184.015, -0.335, 0.19, 0.19, 1, 3, 0, 0.41)
A(bondpad_70x100um, L66_0, -88.085, -0.335, 0.19, 0.19, 1, 3, 0, 0.41)
A(bondpad_70x100um, L66_0, -184.015, 2.55, 0.19, 0.19, 1, 3, 0, 0.41)
A(bondpad_70x100um, L66_0, -88.085, 2.55, 0.19, 0.19, 1, 3, 0, 0.41)
A(bondpad_70x100um, L66_0, -184.015, 4.61, 0.19, 0.19, 1, 3, 0, 0.41)
A(bondpad_70x100um, L66_0, -88.085, 4.61, 0.19, 0.19, 1, 3, 0, 0.41)
A(bondpad_70x100um, L66_0, -184.015, 6.67, 0.19, 0.19, 1, 3, 0, 0.41)
A(bondpad_70x100um, L66_0, -88.085, 6.67, 0.19, 0.19, 1, 3, 0, 0.41)
A(bondpad_70x100um, L66_0, -184.015, 9.555, 0.19, 0.19, 1, 3, 0, 0.41)
A(bondpad_70x100um, L66_0, -88.085, 9.555, 0.19, 0.19, 1, 3, 0, 0.41)
A(bondpad_70x100um, L66_0, -184.015, 11.615, 0.19, 0.19, 1, 3, 0, 0.41)
A(bondpad_70x100um, L66_0, -88.085, 11.615, 0.19, 0.19, 1, 3, 0, 0.41)
A(bondpad_70x100um, L66_0, -184.015, 14.5, 0.19, 0.19, 1, 3, 0, 0.41)
A(bondpad_70x100um, L66_0, -88.085, 14.5, 0.19, 0.19, 1, 3, 0, 0.41)
A(bondpad_70x100um, L66_0, -184.015, 16.56, 0.19, 0.19, 1, 3, 0, 0.41)
A(bondpad_70x100um, L66_0, -88.085, 16.56, 0.19, 0.19, 1, 3, 0, 0.41)
A(bondpad_70x100um, L66_0, -184.015, 18.62, 0.19, 0.19, 1, 3, 0, 0.41)
A(bondpad_70x100um, L66_0, -88.085, 18.62, 0.19, 0.19, 1, 3, 0, 0.41)
A(bondpad_70x100um, L66_0, -184.015, 21.505, 0.19, 0.19, 1, 3, 0, 0.41)
A(bondpad_70x100um, L66_0, -88.085, 21.505, 0.19, 0.19, 1, 3, 0, 0.41)
A(bondpad_70x100um, L66_0, -184.015, 23.565, 0.19, 0.19, 1, 3, 0, 0.41)
A(bondpad_70x100um, L66_0, -88.085, 23.565, 0.19, 0.19, 1, 3, 0, 0.41)
A(bondpad_70x100um, L66_0, -184.015, 25.625, 0.19, 0.19, 1, 3, 0, 0.41)
A(bondpad_70x100um, L66_0, -88.085, 25.625, 0.19, 0.19, 1, 3, 0, 0.41)
A(bondpad_70x100um, L66_0, -184.015, 28.51, 0.19, 0.19, 1, 3, 0, 0.41)
A(bondpad_70x100um, L66_0, -88.085, 28.51, 0.19, 0.19, 1, 3, 0, 0.41)
A(bondpad_70x100um, L66_0, -184.015, 30.57, 0.19, 0.19, 1, 3, 0, 0.41)
A(bondpad_70x100um, L66_0, -88.085, 30.57, 0.19, 0.19, 1, 3, 0, 0.41)
A(bondpad_70x100um, L66_0, -184.015, 32.63, 0.19, 0.19, 1, 3, 0, 0.41)
A(bondpad_70x100um, L66_0, -88.085, 32.63, 0.19, 0.19, 1, 3, 0, 0.41)
A(bondpad_70x100um, L66_0, -184.015, 35.515, 0.19, 0.19, 1, 3, 0, 0.41)
A(bondpad_70x100um, L66_0, -88.085, 35.515, 0.19, 0.19, 1, 3, 0, 0.41)
A(bondpad_70x100um, L66_0, -184.015, 37.575, 0.19, 0.19, 1, 3, 0, 0.41)
A(bondpad_70x100um, L66_0, -88.085, 37.575, 0.19, 0.19, 1, 3, 0, 0.41)
A(bondpad_70x100um, L66_0, -184.015, 39.635, 0.19, 0.19, 1, 3, 0, 0.41)
A(bondpad_70x100um, L66_0, -88.085, 39.635, 0.19, 0.19, 1, 3, 0, 0.41)
R(bondpad_70x100um, L66_0, [(-184.015,-25.475,-183.825,-25.285), (-88.505,-25.475,-88.315,-25.285), (-88.085,-25.475,-87.895,-25.285), (-184.015,-25.06,-183.825,-24.87), (-88.085,-25.06,-87.895,-24.87), (-184.015,-24.65,-183.825,-24.46), (-88.085,-24.65,-87.895,-24.46), (-184.015,-24.235,-183.825,-24.045), (-88.085,-24.235,-87.895,-24.045), (-184.015,-23.825,-183.825,-23.635), (-88.085,-23.825,-87.895,-23.635), (-184.015,-22.175,-183.825,-21.985), (-88.085,-22.175,-87.895,-21.985), (-184.015,-21.765,-183.825,-21.575), (-88.085,-21.765,-87.895,-21.575), (-184.015,-20.115,-183.825,-19.925), (-88.085,-20.115,-87.895,-19.925), (-184.015,-19.705,-183.825,-19.515), (-88.085,-19.705,-87.895,-19.515), (-184.015,-19.29,-183.825,-19.1), (-88.085,-19.29,-87.895,-19.1), (-184.015,-18.88,-183.825,-18.69), (-88.085,-18.88,-87.895,-18.69), (-184.015,-17.23,-183.825,-17.04), (-88.085,-17.23,-87.895,-17.04), (-184.015,-16.82,-183.825,-16.63), (-88.085,-16.82,-87.895,-16.63), (-184.015,-15.17,-183.825,-14.98), (-88.085,-15.17,-87.895,-14.98), (-184.015,-14.76,-183.825,-14.57), (-88.085,-14.76,-87.895,-14.57), (-184.015,-13.11,-183.825,-12.92), (-88.085,-13.11,-87.895,-12.92), (-184.015,-12.7,-183.825,-12.51), (-88.085,-12.7,-87.895,-12.51), (-184.015,-12.285,-183.825,-12.095), (-88.085,-12.285,-87.895,-12.095), (-184.015,-11.875,-183.825,-11.685), (-88.085,-11.875,-87.895,-11.685), (-184.015,-10.225,-183.825,-10.035), (-88.085,-10.225,-87.895,-10.035), (-184.015,-9.815,-183.825,-9.625), (-88.085,-9.815,-87.895,-9.625), (-184.015,-8.165,-183.825,-7.975), (-88.085,-8.165,-87.895,-7.975), (-184.015,-7.755,-183.825,-7.565), (-88.085,-7.755,-87.895,-7.565), (-184.015,-6.105,-183.825,-5.915), (-88.085,-6.105,-87.895,-5.915), (-184.015,-5.695,-183.825,-5.505), (-88.085,-5.695,-87.895,-5.505), (-184.015,-5.28,-183.825,-5.09), (-88.085,-5.28,-87.895,-5.09), (-184.015,-4.87,-183.825,-4.68), (-88.085,-4.87,-87.895,-4.68), (-184.015,-3.22,-183.825,-3.03), (-88.085,-3.22,-87.895,-3.03), (-184.015,-2.81,-183.825,-2.62), (-88.085,-2.81,-87.895,-2.62), (-184.015,-1.16,-183.825,-0.97), (-88.085,-1.16,-87.895,-0.97), (-184.015,-0.75,-183.825,-0.56), (-88.085,-0.75,-87.895,-0.56), (-184.015,0.9,-183.825,1.09), (-88.085,0.9,-87.895,1.09), (-184.015,1.31,-183.825,1.5), (-88.085,1.31,-87.895,1.5), (-184.015,1.725,-183.825,1.915), (-88.085,1.725,-87.895,1.915), (-184.015,2.135,-183.825,2.325), (-88.085,2.135,-87.895,2.325), (-184.015,3.785,-183.825,3.975), (-88.085,3.785,-87.895,3.975), (-184.015,4.195,-183.825,4.385), (-88.085,4.195,-87.895,4.385), (-184.015,5.845,-183.825,6.035), (-88.085,5.845,-87.895,6.035), (-184.015,6.255,-183.825,6.445), (-88.085,6.255,-87.895,6.445), (-184.015,7.905,-183.825,8.095), (-88.085,7.905,-87.895,8.095), (-184.015,8.315,-183.825,8.505), (-88.085,8.315,-87.895,8.505), (-184.015,8.73,-183.825,8.92), (-88.085,8.73,-87.895,8.92), (-184.015,9.14,-183.825,9.33), (-88.085,9.14,-87.895,9.33), (-184.015,10.79,-183.825,10.98), (-88.085,10.79,-87.895,10.98), (-184.015,11.2,-183.825,11.39), (-88.085,11.2,-87.895,11.39), (-184.015,12.85,-183.825,13.04), (-88.085,12.85,-87.895,13.04), (-184.015,13.26,-183.825,13.45), (-88.085,13.26,-87.895,13.45), (-184.015,13.675,-183.825,13.865), (-88.085,13.675,-87.895,13.865), (-184.015,14.085,-183.825,14.275), (-88.085,14.085,-87.895,14.275), (-184.015,15.735,-183.825,15.925), (-88.085,15.735,-87.895,15.925), (-184.015,16.145,-183.825,16.335), (-88.085,16.145,-87.895,16.335), (-184.015,17.795,-183.825,17.985), (-88.085,17.795,-87.895,17.985), (-184.015,18.205,-183.825,18.395), (-88.085,18.205,-87.895,18.395), (-184.015,19.855,-183.825,20.045), (-88.085,19.855,-87.895,20.045), (-184.015,20.265,-183.825,20.455), (-88.085,20.265,-87.895,20.455), (-184.015,20.68,-183.825,20.87), (-88.085,20.68,-87.895,20.87), (-184.015,21.09,-183.825,21.28), (-88.085,21.09,-87.895,21.28), (-184.015,22.74,-183.825,22.93), (-88.085,22.74,-87.895,22.93), (-184.015,23.15,-183.825,23.34), (-88.085,23.15,-87.895,23.34), (-184.015,24.8,-183.825,24.99), (-88.085,24.8,-87.895,24.99), (-184.015,25.21,-183.825,25.4), (-88.085,25.21,-87.895,25.4), (-184.015,26.86,-183.825,27.05), (-88.085,26.86,-87.895,27.05), (-184.015,27.27,-183.825,27.46), (-88.085,27.27,-87.895,27.46), (-184.015,27.685,-183.825,27.875), (-88.085,27.685,-87.895,27.875), (-184.015,28.095,-183.825,28.285), (-88.085,28.095,-87.895,28.285), (-184.015,29.745,-183.825,29.935), (-88.085,29.745,-87.895,29.935), (-184.015,30.155,-183.825,30.345), (-88.085,30.155,-87.895,30.345), (-184.015,31.805,-183.825,31.995), (-88.085,31.805,-87.895,31.995), (-184.015,32.215,-183.825,32.405), (-88.085,32.215,-87.895,32.405), (-184.015,33.865,-183.825,34.055), (-88.085,33.865,-87.895,34.055), (-184.015,34.275,-183.825,34.465), (-88.085,34.275,-87.895,34.465), (-184.015,34.69,-183.825,34.88), (-88.085,34.69,-87.895,34.88), (-184.015,35.1,-183.825,35.29), (-88.085,35.1,-87.895,35.29), (-184.015,36.75,-183.825,36.94), (-88.085,36.75,-87.895,36.94), (-184.015,37.16,-183.825,37.35), (-88.085,37.16,-87.895,37.35), (-184.015,38.81,-183.825,39), (-88.085,38.81,-87.895,39), (-184.015,39.22,-183.825,39.41), (-88.085,39.22,-87.895,39.41), (-88.505,40.455,-88.315,40.645)])
P(bondpad_70x100um, L67_0, [(-185.955,-27.415),(-185.955,42.585),(-181.885,38.515),(-181.885,-23.345),(-90.025,-23.345),(-90.025,38.515),(-181.885,38.515),(-185.955,42.585),(-85.955,42.585),(-85.955,-27.415)])
A(bondpad_70x100um, L125_0, -183.28, -25.59, 0.42, 0.42, 4, 2, 0.84, 65.93)
A(bondpad_70x100um, L125_0, -179.915, -25.59, 0.42, 0.42, 4, 2, 0.84, 65.93)
A(bondpad_70x100um, L125_0, -176.55, -25.59, 0.42, 0.42, 4, 2, 0.84, 65.93)
A(bondpad_70x100um, L125_0, -173.185, -25.59, 0.42, 0.42, 3, 2, 0.84, 65.93)
A(bondpad_70x100um, L125_0, -170.66, -25.59, 0.42, 0.42, 4, 2, 0.84, 65.93)
A(bondpad_70x100um, L125_0, -167.295, -25.59, 0.42, 0.42, 4, 2, 0.84, 65.93)
A(bondpad_70x100um, L125_0, -163.93, -25.59, 0.42, 0.42, 4, 2, 0.84, 65.93)
A(bondpad_70x100um, L125_0, -160.565, -25.59, 0.42, 0.42, 3, 2, 0.84, 65.93)
A(bondpad_70x100um, L125_0, -158.04, -25.59, 0.42, 0.42, 4, 2, 0.84, 65.93)
A(bondpad_70x100um, L125_0, -154.675, -25.59, 0.42, 0.42, 4, 2, 0.84, 65.93)
A(bondpad_70x100um, L125_0, -151.31, -25.59, 0.42, 0.42, 4, 2, 0.84, 65.93)
A(bondpad_70x100um, L125_0, -147.945, -25.59, 0.42, 0.42, 3, 2, 0.84, 65.93)
A(bondpad_70x100um, L125_0, -145.42, -25.59, 0.42, 0.42, 4, 2, 0.84, 65.93)
A(bondpad_70x100um, L125_0, -142.055, -25.59, 0.42, 0.42, 4, 2, 0.84, 65.93)
A(bondpad_70x100um, L125_0, -138.69, -25.59, 0.42, 0.42, 3, 2, 0.84, 65.93)
A(bondpad_70x100um, L125_0, -136.165, -25.59, 0.42, 0.42, 4, 2, 0.84, 65.93)
A(bondpad_70x100um, L125_0, -132.8, -25.59, 0.42, 0.42, 4, 2, 0.84, 65.93)
A(bondpad_70x100um, L125_0, -129.435, -25.59, 0.42, 0.42, 4, 2, 0.84, 65.93)
A(bondpad_70x100um, L125_0, -126.07, -25.59, 0.42, 0.42, 3, 2, 0.84, 65.93)
A(bondpad_70x100um, L125_0, -123.545, -25.59, 0.42, 0.42, 4, 2, 0.84, 65.93)
A(bondpad_70x100um, L125_0, -120.18, -25.59, 0.42, 0.42, 4, 2, 0.84, 65.93)
A(bondpad_70x100um, L125_0, -116.815, -25.59, 0.42, 0.42, 4, 2, 0.84, 65.93)
A(bondpad_70x100um, L125_0, -113.45, -25.59, 0.42, 0.42, 3, 2, 0.84, 65.93)
A(bondpad_70x100um, L125_0, -110.925, -25.59, 0.42, 0.42, 4, 2, 0.84, 65.93)
A(bondpad_70x100um, L125_0, -107.56, -25.59, 0.42, 0.42, 4, 2, 0.84, 65.93)
A(bondpad_70x100um, L125_0, -104.195, -25.59, 0.42, 0.42, 4, 2, 0.84, 65.93)
A(bondpad_70x100um, L125_0, -100.83, -25.59, 0.42, 0.42, 3, 2, 0.84, 65.93)
A(bondpad_70x100um, L125_0, -98.305, -25.59, 0.42, 0.42, 4, 2, 0.84, 65.93)
A(bondpad_70x100um, L125_0, -94.94, -25.59, 0.42, 0.42, 4, 2, 0.84, 65.93)
A(bondpad_70x100um, L125_0, -91.575, -25.59, 0.42, 0.42, 3, 2, 0.84, 65.93)
A(bondpad_70x100um, L125_0, -184.13, -24.74, 0.42, 0.42, 1, 19, 0, 0.845)
A(bondpad_70x100um, L125_0, -88.2, -24.74, 0.42, 0.42, 1, 19, 0, 0.845)
A(bondpad_70x100um, L125_0, -184.13, -8.68, 0.42, 0.42, 1, 20, 0, 0.845)
A(bondpad_70x100um, L125_0, -88.2, -8.68, 0.42, 0.42, 1, 20, 0, 0.845)
A(bondpad_70x100um, L125_0, -184.13, 8.225, 0.42, 0.42, 1, 19, 0, 0.845)
A(bondpad_70x100um, L125_0, -88.2, 8.225, 0.42, 0.42, 1, 19, 0, 0.845)
A(bondpad_70x100um, L125_0, -184.13, 24.285, 0.42, 0.42, 1, 20, 0, 0.845)
A(bondpad_70x100um, L125_0, -88.2, 24.285, 0.42, 0.42, 1, 20, 0, 0.845)
R(bondpad_70x100um, L125_0, [(-184.13,-25.59,-183.71,-25.17), (-89.05,-25.59,-88.63,-25.17), (-88.2,-25.59,-87.78,-25.17), (-89.05,40.34,-88.63,40.76)])
P(bondpad_70x100um, L126_0, [(-185.955,-27.415),(-185.955,42.585),(-181.885,38.515),(-181.885,-23.345),(-90.025,-23.345),(-90.025,38.515),(-181.885,38.515),(-185.955,42.585),(-85.955,42.585),(-85.955,-27.415)])
A(bondpad_70x100um, L133_0, -184.37, -25.83, 0.9, 0.9, 1, 3, 0, 2)
A(bondpad_70x100um, L133_0, -180.405, -25.83, 0.9, 0.9, 23, 2, 2, 65.93)
A(bondpad_70x100um, L133_0, -134.41, -25.83, 0.9, 0.9, 23, 2, 2, 65.93)
A(bondpad_70x100um, L133_0, -88.44, -25.83, 0.9, 0.9, 1, 3, 0, 2)
A(bondpad_70x100um, L133_0, -184.37, -15.84, 0.9, 0.9, 1, 3, 0, 2)
A(bondpad_70x100um, L133_0, -88.44, -15.84, 0.9, 0.9, 1, 3, 0, 2)
A(bondpad_70x100um, L133_0, -184.37, -1.855, 0.9, 0.9, 1, 3, 0, 2)
A(bondpad_70x100um, L133_0, -88.44, -1.855, 0.9, 0.9, 1, 3, 0, 2)
A(bondpad_70x100um, L133_0, -184.37, 12.13, 0.9, 0.9, 1, 3, 0, 2)
A(bondpad_70x100um, L133_0, -88.44, 12.13, 0.9, 0.9, 1, 3, 0, 2)
A(bondpad_70x100um, L133_0, -184.37, 26.115, 0.9, 0.9, 1, 3, 0, 2)
A(bondpad_70x100um, L133_0, -88.44, 26.115, 0.9, 0.9, 1, 3, 0, 2)
R(bondpad_70x100um, L133_0, [(-182.4,-25.83,-181.5,-24.93), (-184.37,-19.835,-183.47,-18.935), (-88.44,-19.835,-87.54,-18.935), (-184.37,-17.835,-183.47,-16.935), (-88.44,-17.835,-87.54,-16.935), (-184.37,-9.845,-183.47,-8.945), (-88.44,-9.845,-87.54,-8.945), (-184.37,-7.845,-183.47,-6.945), (-88.44,-7.845,-87.54,-6.945), (-184.37,-5.85,-183.47,-4.95), (-88.44,-5.85,-87.54,-4.95), (-184.37,-3.85,-183.47,-2.95), (-88.44,-3.85,-87.54,-2.95), (-184.37,4.14,-183.47,5.04), (-88.44,4.14,-87.54,5.04), (-184.37,6.14,-183.47,7.04), (-88.44,6.14,-87.54,7.04), (-184.37,8.135,-183.47,9.035), (-88.44,8.135,-87.54,9.035), (-184.37,10.135,-183.47,11.035), (-88.44,10.135,-87.54,11.035), (-184.37,18.125,-183.47,19.025), (-88.44,18.125,-87.54,19.025), (-184.37,20.125,-183.47,21.025), (-88.44,20.125,-87.54,21.025), (-184.37,22.12,-183.47,23.02), (-88.44,22.12,-87.54,23.02), (-184.37,24.12,-183.47,25.02), (-88.44,24.12,-87.54,25.02), (-184.37,32.11,-183.47,33.01), (-88.44,32.11,-87.54,33.01), (-184.37,34.11,-183.47,35.01), (-88.44,34.11,-87.54,35.01), (-184.37,36.105,-183.47,37.005), (-88.44,36.105,-87.54,37.005), (-184.37,38.105,-183.47,39.005), (-88.44,38.105,-87.54,39.005), (-184.37,40.1,-183.47,41), (-182.4,40.1,-181.5,41), (-88.44,40.1,-87.54,41)])
R(bondpad_70x100um, L134_0, [(-185.955,-27.415,-85.955,42.585)])

lib.write_gds('bondpad_70x100um.gds')
